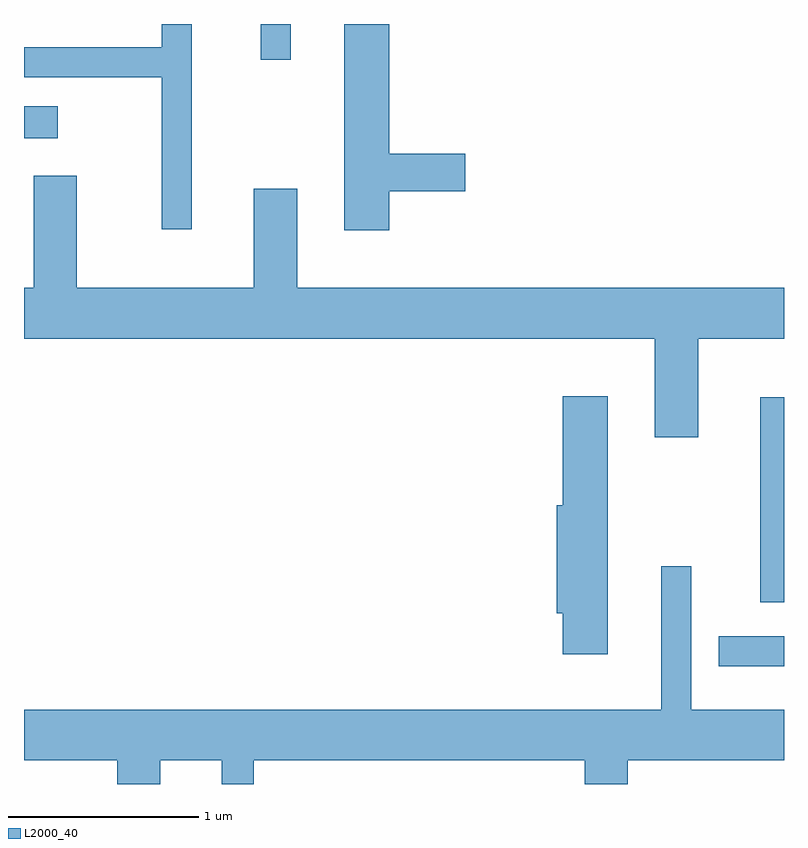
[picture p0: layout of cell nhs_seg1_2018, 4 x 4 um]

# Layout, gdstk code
import gdstk
lib = gdstk.Library(unit=1e-6, precision=1e-09)
def R(c, l, rs):  # rectangles x0, y0, x1, y1
    for r in rs: c.add(gdstk.rectangle(r[:2], r[2:], *l))
def P(c, l, *ps):  # polygons
    for p in ps: c.add(gdstk.Polygon(p, *l))
L2000_40 = (2000, 40)

nhs_seg1_2018 = lib.new_cell('nhs_seg1_2018')
R(nhs_seg1_2018, L2000_40, [(251.268,862.331,251.611,862.489), (251.486,862.668,251.611,863.748), (247.611,865.111,247.788,865.279), (248.856,865.523,249.014,865.712)])
P(nhs_seg1_2018, L2000_40, [(248.494,865.712),(248.336,865.712),(248.336,865.589),(247.611,865.589),(247.611,865.431),(248.336,865.431),(248.336,864.633),(248.494,864.633)],
  [(249.534,864.831),(249.934,864.831),(249.934,865.029),(249.534,865.029),(249.534,865.712),(249.296,865.712),(249.296,864.626),(249.534,864.626)],
  [(250.931,863.536),(251.159,863.536),(251.159,864.056),(251.611,864.056),(251.611,864.324),(249.049,864.324),(249.049,864.844),(248.821,864.844),(248.821,864.324),(247.889,864.324),(247.889,864.914),(247.661,864.914),(247.661,864.324),(247.611,864.324),(247.611,864.056),(250.931,864.056)],
  [(250.684,863.754),(250.446,863.754),(250.446,863.179),(250.416,863.179),(250.416,862.611),(250.446,862.611),(250.446,862.396),(250.684,862.396)],
  [(248.329,861.836),(248.651,861.836),(248.651,861.712),(248.819,861.712),(248.819,861.836),(250.561,861.836),(250.561,861.712),(250.789,861.712),(250.789,861.836),(251.611,861.836),(251.611,862.104),(251.124,862.104),(251.124,862.858),(250.966,862.858),(250.966,862.104),(247.611,862.104),(247.611,861.836),(248.101,861.836),(248.101,861.712),(248.329,861.712)])

lib.write_gds('nhs_seg1_2018.gds')
